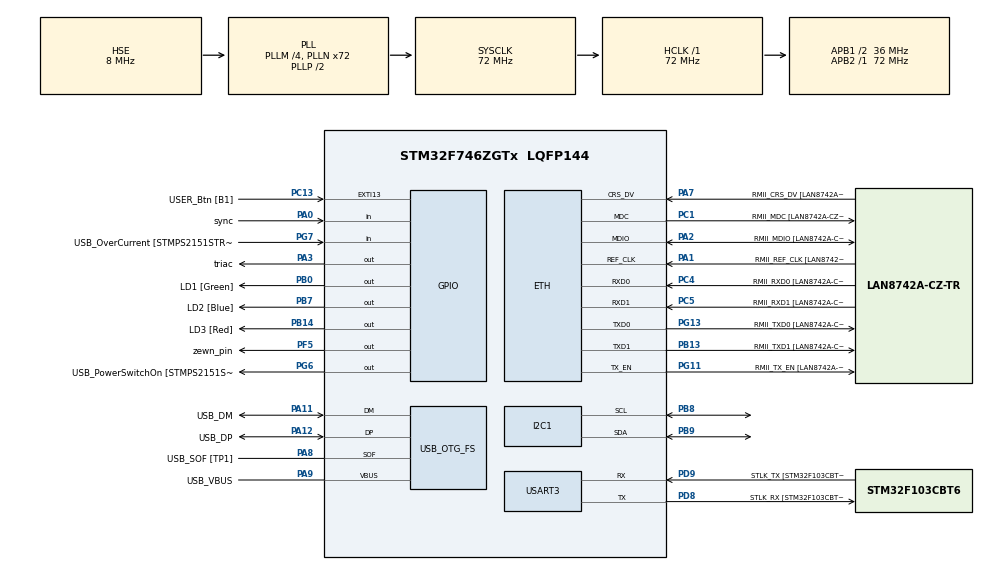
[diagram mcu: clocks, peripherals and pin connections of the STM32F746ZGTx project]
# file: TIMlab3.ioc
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ETH.MediaInterface=HAL_ETH_RMII_MODE
ETH.PHY_Name=LAN8742A_PHY_ADDRESS
ETH.PHY_Value=0
ETH.PhyAddress=0
I2C1.Timing=0x00808CD2
Mcu.Family=STM32F7
Mcu.Name=STM32F746ZGTx
Mcu.Package=LQFP144
NVIC.EXTI15_10_IRQn=true\:0\:0\:false\:false\:true\:true\:true\:true
NVIC.PriorityGroup=NVIC_PRIORITYGROUP_4
NVIC.TIM8_TRG_COM_TIM14_IRQn=true\:0\:0\:false\:false\:true\:true\:true\:true
NVIC.USART3_IRQn=true\:0\:0\:false\:false\:true\:true\:true\:true
PA0/WKUP.GPIO_Label=sync
PA0/WKUP.Signal=GPIO_Input
PA1.GPIO_Label=RMII_REF_CLK [LAN8742A-CZ-TR_REFCLK0]
PA1.Mode=RMII
PA1.Signal=ETH_REF_CLK
PA10.GPIO_Label=USB_ID
PA10.Signal=USB_OTG_FS_ID
PA11.GPIO_Label=USB_DM
PA11.Mode=Device_Only
PA11.Signal=USB_OTG_FS_DM
PA12.GPIO_Label=USB_DP
PA12.Mode=Device_Only
PA12.Signal=USB_OTG_FS_DP
PA13.GPIO_Label=TMS
PA13.Mode=Serial_Wire
PA13.Signal=SYS_JTMS-SWDIO
PA14.GPIO_Label=TCK
PA14.Mode=Serial_Wire
PA14.Signal=SYS_JTCK-SWCLK
PA2.GPIO_Label=RMII_MDIO [LAN8742A-CZ-TR_MDIO]
PA2.Mode=RMII
PA2.Signal=ETH_MDIO
PA3.GPIO_Label=triac
PA3.Signal=GPIO_Output
PA7.GPIO_Label=RMII_CRS_DV [LAN8742A-CZ-TR_CRS_DV]
PA7.Mode=RMII
PA7.Signal=ETH_CRS_DV
PA8.GPIO_Label=USB_SOF [TP1]
PA8.Mode=Activate_SOF_FS
PA8.Signal=USB_OTG_FS_SOF
PA9.GPIO_Label=USB_VBUS
PA9.Mode=Activate_VBUS
PA9.Signal=USB_OTG_FS_VBUS
PB0.GPIO_Label=LD1 [Green]
PB0.Signal=GPIO_Output
PB13.GPIO_Label=RMII_TXD1 [LAN8742A-CZ-TR_TXD1]
PB13.Mode=RMII
PB13.Signal=ETH_TXD1
PB14.GPIO_Label=LD3 [Red]
PB14.Signal=GPIO_Output
PB3.GPIO_Label=SW0
PB3.Signal=SYS_JTDO-SWO
PB7.GPIO_Label=LD2 [Blue]
PB7.Signal=GPIO_Output
PB8.Mode=I2C
PB8.Signal=I2C1_SCL
PB9.Mode=I2C
PB9.Signal=I2C1_SDA
PC1.GPIO_Label=RMII_MDC [LAN8742A-CZ-TR_MDC]
PC1.Mode=RMII
PC1.Signal=ETH_MDC
PC13.GPIO_Label=USER_Btn [B1]
PC13.Signal=GPXTI13
PC14/OSC32_IN.Mode=LSE-External-Oscillator
PC14/OSC32_IN.Signal=RCC_OSC32_IN
PC15/OSC32_OUT.Mode=LSE-External-Oscillator
PC15/OSC32_OUT.Signal=RCC_OSC32_OUT
PC4.GPIO_Label=RMII_RXD0 [LAN8742A-CZ-TR_RXD0]
PC4.Mode=RMII
PC4.Signal=ETH_RXD0
PC5.GPIO_Label=RMII_RXD1 [LAN8742A-CZ-TR_RXD1]
PC5.Mode=RMII
PC5.Signal=ETH_RXD1
PD8.GPIO_Label=STLK_RX [STM32F103CBT6_PA3]
PD8.GPIO_PuPd=GPIO_PULLUP
PD8.Mode=Asynchronous
PD8.Signal=USART3_TX
PD9.GPIO_Label=STLK_TX [STM32F103CBT6_PA2]
PD9.GPIO_PuPd=GPIO_PULLUP
PD9.Mode=Asynchronous
PD9.Signal=USART3_RX
PF5.GPIO_Label=zewn_pin
PF5.Signal=GPIO_Output
PG11.GPIO_Label=RMII_TX_EN [LAN8742A-CZ-TR_TXEN]
PG11.Mode=RMII
PG11.Signal=ETH_TX_EN
PG13.GPIO_Label=RMII_TXD0 [LAN8742A-CZ-TR_TXD0]
PG13.Mode=RMII
PG13.Signal=ETH_TXD0
PG6.GPIO_Label=USB_PowerSwitchOn [STMPS2151STR_EN]
PG6.Signal=GPIO_Output
PG7.GPIO_Label=USB_OverCurrent [STMPS2151STR_FAULT]
PG7.Signal=GPIO_Input
PH0/OSC_IN.GPIO_Label=MCO [STM32F103CBT6_PA8]
PH0/OSC_IN.Mode=HSE-External-Clock-Source
PH0/OSC_IN.Signal=RCC_OSC_IN
PH1/OSC_OUT.Mode=HSE-External-Clock-Source
PH1/OSC_OUT.Signal=RCC_OSC_OUT
ProjectManager.HeapSize=0x200
ProjectManager.StackSize=0x400
ProjectManager.TargetToolchain=STM32CubeIDE
RCC.48MHZClocksFreq_Value=24000000
RCC.AHBFreq_Value=72000000
RCC.APB1CLKDivider=RCC_HCLK_DIV2
RCC.APB1Freq_Value=36000000
RCC.APB1TimFreq_Value=72000000
RCC.APB2Freq_Value=72000000
RCC.APB2TimFreq_Value=72000000
RCC.CortexFreq_Value=72000000
RCC.HCLKFreq_Value=72000000
RCC.HSE_VALUE=8000000
RCC.HSI_VALUE=16000000
RCC.PLLM=4
RCC.PLLMUL=RCC_PLL_MUL9
RCC.PLLN=72
RCC.PLLQ=3
RCC.PRESCALERUSB=RCC_USBCLKSOURCE_PLL_DIV1_5
RCC.SYSCLKFreq_VALUE=72000000
RCC.SYSCLKSource=RCC_SYSCLKSOURCE_PLLCLK
RCC.SYSCLKSourceVirtual=RCC_SYSCLKSOURCE_PLLCLK
RCC.USBFreq_Value=48000000
RCC.VCOOutputFreq_Value=144000000
TIM14.AutoReloadPreload=TIM_AUTORELOAD_PRELOAD_DISABLE
TIM14.Period=719
TIM14.Prescaler=249
USART3.VirtualMode-Asynchronous=VM_ASYNC
USB_OTG_FS.VirtualMode=Device_Only
VP_TIM14_VS_ClockSourceINT.Mode=Enable_Timer
board=NUCLEO-F746ZG

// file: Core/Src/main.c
/* USER CODE BEGIN Header */
/**
  ******************************************************************************
  * @file           : main.c
  * @brief          : Main program body
  ******************************************************************************
  * @attention
  *
  * Copyright (c) 2025 STMicroelectronics.
  * All rights reserved.
  *
  * This software is licensed under terms that can be found in the LICENSE file
  * in the root directory of this software component.
  * If no LICENSE file comes with this software, it is provided AS-IS.
  *
  ******************************************************************************
  */
/* USER CODE END Header */
#include "main.h"
#include "eth.h"
#include "i2c.h"
#include "tim.h"
#include "usart.h"
#include "usb_otg.h"
#include "gpio.h"

/* USER CODE BEGIN Includes */
#include <string.h>
#include <stdio.h>
/* USER CODE END Includes */

/* USER CODE BEGIN PV */
int stan_do_svw =0;
char jeden[2] = "+";
char dwa[2] = "-";
char komunikat[] = "niepoprawny komunikat, napisz + lub - (+CR)";
uint8_t receivedChar;
char odebrane[100];
uint8_t ind = 0;
uint32_t zad3pomocnicza =0;

/* USER CODE END PV */

void SystemClock_Config(void);

/* USER CODE BEGIN 0 */

void HAL_GPIO_EXTI_Callback(uint16_t GPIO_Pin)
{
  /* Prevent unused argument(s) compilation warning */
  if(GPIO_Pin == USER_Btn_Pin){
	  HAL_TIM_Base_Start_IT(&htim14);
	  stan_do_svw=1;
  }
  /* NOTE: This function Should not be modified, when the callback is needed,
           the HAL_GPIO_EXTI_Callback could be implemented in the user file
   */
  if(GPIO_Pin == sync_Pin){
	  HAL_TIM_Base_Start_IT(&htim14);
  }
}

void HAL_TIM_PeriodElapsedCallback(TIM_HandleTypeDef *htim)
{
  /* Prevent unused argument(s) compilation warning */
  if (htim->Instance == TIM14){
	  HAL_TIM_Base_Stop_IT(&htim14);
	  stan_do_svw=0;
	  HAL_GPIO_WritePin(GPIOA, triac_Pin, GPIO_PIN_SET);
	  HAL_GPIO_WritePin(GPIOA, triac_Pin, GPIO_PIN_RESET);

//	  if(stan_do_svw){
//		  stan_do_svw =0;
//	  }
//	  else {
//		  stan_do_svw =1;
//	  }
	  //HAL_Delay(10);

  }

  /* NOTE : This function should not be modified, when the callback is needed,
            the HAL_TIM_PeriodElapsedCallback could be implemented in the user file
   */
}

void zad1(){
	  if(__HAL_TIM_GET_FLAG(&htim14, TIM_FLAG_UPDATE)){
	  __HAL_TIM_CLEAR_FLAG(&htim14, TIM_FLAG_UPDATE);
	  HAL_GPIO_TogglePin(zewn_pin_GPIO_Port, zewn_pin_Pin);
	  stan_do_svw = HAL_GPIO_ReadPin(zewn_pin_GPIO_Port, zewn_pin_Pin);
	  }
}

void zad3(){
    // Odbierz jeden znak
    HAL_UART_Receive(&huart3, &receivedChar, 1, HAL_MAX_DELAY);

    if(receivedChar == '\r' || receivedChar == '\n')
    {
        // Koniec linii - wyślij całą linię z powrotem
        odebrane[ind] = '\0'; // Zakończ string
        HAL_UART_Transmit(&huart3, (uint8_t*)odebrane, strlen(odebrane), HAL_MAX_DELAY);
        HAL_UART_Transmit(&huart3, (uint8_t*)"\r\n", 2, HAL_MAX_DELAY); // Nowa linia
        ind = 0; // Resetuj indeks

    if (strcmp(jeden,odebrane)==0){
    	zad3pomocnicza += 1000;
    			if(zad3pomocnicza >= 100000){
    				zad3pomocnicza =100000;
    			}
    	__HAL_TIM_SET_AUTORELOAD(&htim14, zad3pomocnicza);
    }
    else if (strcmp(dwa,odebrane)==0){
    	zad3pomocnicza -= 1000;
    			if(zad3pomocnicza <= 1){
    				zad3pomocnicza =0;
    			}
    	__HAL_TIM_SET_AUTORELOAD(&htim14, zad3pomocnicza);
    }
    else{
        HAL_UART_Transmit(&huart3, (uint8_t*)komunikat, strlen(komunikat), HAL_MAX_DELAY);
        HAL_UART_Transmit(&huart3, (uint8_t*)"\r\n", 2, HAL_MAX_DELAY); // Nowa linia
    }
    }
    else
    {
        odebrane[ind++] = receivedChar; // Dodaj znak do bufora
        if(ind >= 99) ind = 0; // Zabezpieczenie przed przepełnieniem
    };
}
/* USER CODE END 0 */

int main(void)
{

  /* MCU Configuration--------------------------------------------------------*/

  /* Reset of all peripherals, Initializes the Flash interface and the Systick. */
  HAL_Init();

  /* Configure the system clock */
  SystemClock_Config();

  /* Initialize all configured peripherals */
  MX_GPIO_Init();
  MX_ETH_Init();
  MX_I2C1_Init();
  MX_USART3_UART_Init();
  MX_USB_OTG_FS_PCD_Init();
  MX_TIM14_Init();
  /* USER CODE BEGIN 2 */

//HAL_TIM_Base_Start(&htim14);//do zad1
//HAL_TIM_Base_Start_IT(&htim14);//do zad2 i 3

  /* USER CODE END 2 */

  /* Infinite loop */
  while (1)
  {
zad1();
  }
}

void SystemClock_Config(void)
{
  RCC_OscInitTypeDef RCC_OscInitStruct = {0};
  RCC_ClkInitTypeDef RCC_ClkInitStruct = {0};

  /** Configure LSE Drive Capability
  */
  HAL_PWR_EnableBkUpAccess();

  /** Configure the main internal regulator output voltage
  */
  __HAL_RCC_PWR_CLK_ENABLE();
  __HAL_PWR_VOLTAGESCALING_CONFIG(PWR_REGULATOR_VOLTAGE_SCALE3);

  /** Initializes the RCC Oscillators according to the specified parameters
  * in the RCC_OscInitTypeDef structure.
  */
  RCC_OscInitStruct.OscillatorType = RCC_OSCILLATORTYPE_HSE;
  RCC_OscInitStruct.HSEState = RCC_HSE_BYPASS;
  RCC_OscInitStruct.PLL.PLLState = RCC_PLL_ON;
  RCC_OscInitStruct.PLL.PLLSource = RCC_PLLSOURCE_HSE;
  RCC_OscInitStruct.PLL.PLLM = 4;
  RCC_OscInitStruct.PLL.PLLN = 72;
  RCC_OscInitStruct.PLL.PLLP = RCC_PLLP_DIV2;
  RCC_OscInitStruct.PLL.PLLQ = 3;
  if (HAL_RCC_OscConfig(&RCC_OscInitStruct) != HAL_OK)
  {
    Error_Handler();
  }

  /** Initializes the CPU, AHB and APB buses clocks
  */
  RCC_ClkInitStruct.ClockType = RCC_CLOCKTYPE_HCLK|RCC_CLOCKTYPE_SYSCLK
                              |RCC_CLOCKTYPE_PCLK1|RCC_CLOCKTYPE_PCLK2;
  RCC_ClkInitStruct.SYSCLKSource = RCC_SYSCLKSOURCE_PLLCLK;
  RCC_ClkInitStruct.AHBCLKDivider = RCC_SYSCLK_DIV1;
  RCC_ClkInitStruct.APB1CLKDivider = RCC_HCLK_DIV2;
  RCC_ClkInitStruct.APB2CLKDivider = RCC_HCLK_DIV1;

  if (HAL_RCC_ClockConfig(&RCC_ClkInitStruct, FLASH_LATENCY_2) != HAL_OK)
  {
    Error_Handler();
  }
}

void Error_Handler(void)
{
  __disable_irq();
  while (1)
  {
  }
}
